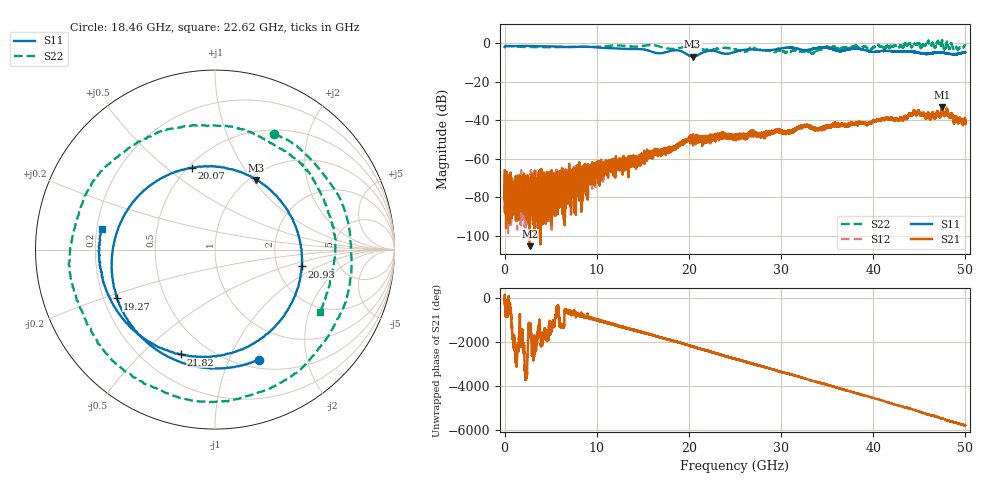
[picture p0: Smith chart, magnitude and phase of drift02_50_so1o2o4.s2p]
!Created with skrf (http://scikit-rf.org).
# Hz S RI R 50.0
!freq ReS11 ImS11 ReS21 ImS21 ReS12 ImS12 ReS22 ImS22
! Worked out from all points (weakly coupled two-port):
!   10001 points, 300 kHz to 50 GHz, reference 50 ohm
!   highest |S21| = -33.12 dB at 47.48 GHz (marker M1); lowest = -105.5 dB at 2.725 GHz (marker M2)
!   lowest |S11| = -6.9 dB at 20.4 GHz (marker M3), VSWR 2.64, Z = 53.7 + j52.3 ohm
!   |S11| at or under -10 dB: nowhere
!   |S22| runs from -5.3 to 1.5 dB; largest |S21 - S12| = 0.0033
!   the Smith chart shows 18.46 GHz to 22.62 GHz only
!   S11 on the Smith chart (normalised r, x): 18.46 GHz: 0.60, -1.29; 19.27 GHz: 0.26, -0.22; 20.07 GHz: 0.52, +0.62; 20.93 GHz: 2.75, -0.68; 21.82 GHz: 0.35, -0.66; 22.62 GHz: 0.22, +0.09
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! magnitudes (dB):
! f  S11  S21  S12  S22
! 300 kHz  -2.1  -66.1  -68.1  -1.3
! 270.3 MHz  -1.4  -77.8  -76.2  -1.4
! 2.725 GHz  -1.4  -105.5  -72.1  -1.9
! 3.395 GHz  -1.5  -76.7  -75.8  -1.9
! 3.9 GHz  -1.5  -75.5  -72.8  -1.9
! 4.35 GHz  -1.6  -73.0  -74.8  -2.0
! 5.665 GHz  -1.7  -74.6  -75.8  -2.0
! 8.335 GHz  -1.7  -70.1  -69.8  -1.9
! 16.67 GHz  -5.2  -56.5  -56.7  -1.4
! 18.46 GHz  -3.6  -54.1  -54.0  -2.8
! 19.27 GHz  -4.3  -51.7  -52.2  -2.1
! 20.07 GHz  -6.5  -48.4  -49.9  -1.5
! 20.4 GHz  -6.9  -48.9  -49.7  -1.7
! 20.93 GHz  -6.2  -49.4  -50.8  -2.2
! 21.82 GHz  -4.2  -50.4  -50.9  -3.5
! 22.62 GHz  -3.8  -48.9  -48.5  -3.3
! 25 GHz  -4.5  -48.4  -48.8  -3.2
! 33.34 GHz  -3.0  -43.9  -43.8  -5.3
! 34.89 GHz  -2.1  -44.1  -43.2  -2.2
! 41.67 GHz  -3.9  -39.5  -39.2  -2.1
! 47.48 GHz  -4.8  -33.1  -33.8  1.5
! 50 GHz  -4.7  -42.0  -39.8  -1.5
